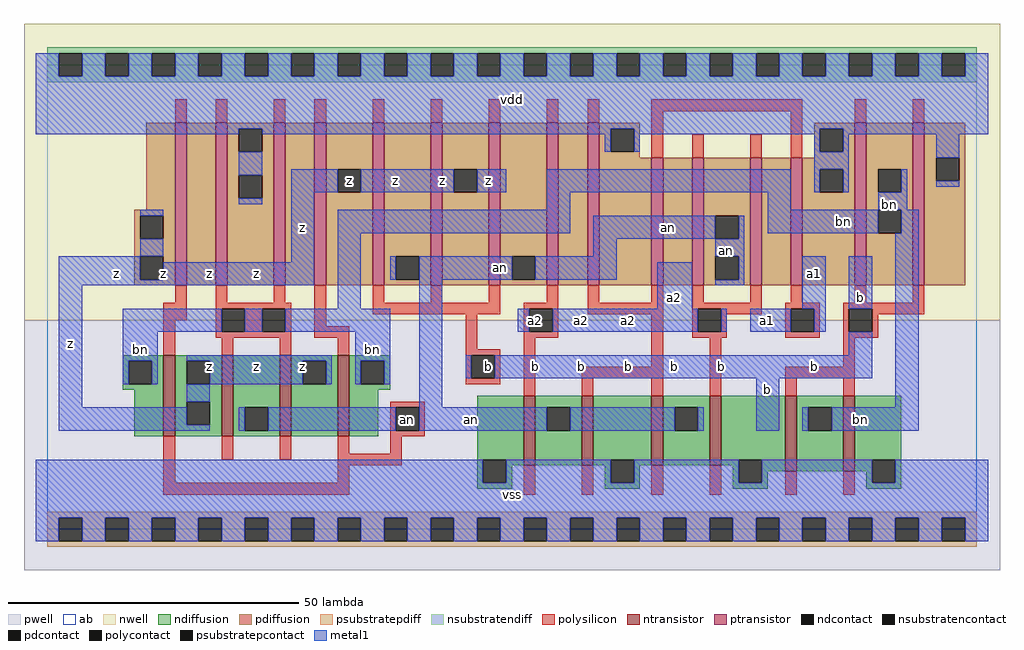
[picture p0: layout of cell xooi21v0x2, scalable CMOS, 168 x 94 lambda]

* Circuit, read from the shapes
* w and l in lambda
.subckt xooi21v0x2 a1 a2 an b bn vdd vss z
M1 z an bn vss nfet w=14 l=2 m=2
M2 an bn z vss nfet w=14 l=2 m=2
M3 an a2 vss vss nfet w=12 l=2 m=2
M4 vss a1 an vss nfet w=12 l=2 m=2
M5 bn b vss vss nfet w=13 l=2 m=2
M6 n1 an z vdd pfet w=28 l=2
M7 vdd bn n1 vdd pfet w=28 l=2
M8 n2 bn vdd vdd pfet w=28 l=2
M9 z an n2 vdd pfet w=28 l=2
M10 an b z vdd pfet w=28 l=2 m=3
M11 n3 a2 an vdd pfet w=28 l=2
M12 vdd a1 n3 vdd pfet w=28 l=2
M13 n4 a1 vdd vdd pfet w=22 l=2
M14 an a2 n4 vdd pfet w=22 l=2
M15 n5 a2 an vdd pfet w=22 l=2
M16 vdd a1 n5 vdd pfet w=22 l=2
M17 bn b vdd vdd pfet w=28 l=2 m=2
.ends

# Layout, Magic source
magic
tech scmos
<< ab >>
rect 0 0 160 80
<< pwell >>
rect -4 -7 164 36
<< nwell >>
rect -4 36 164 87
<< polysilicon >>
rect 22 70 24 74
rect 29 70 31 74
rect 39 70 41 74
rect 46 70 48 74
rect 56 70 58 74
rect 66 70 68 74
rect 76 70 78 74
rect 86 70 88 74
rect 93 70 95 74
rect 104 72 130 74
rect 104 64 106 72
rect 111 64 113 68
rect 121 64 123 68
rect 128 64 130 72
rect 139 70 141 74
rect 149 70 151 74
rect 22 39 24 42
rect 20 36 24 39
rect 29 39 31 42
rect 39 39 41 42
rect 29 38 42 39
rect 20 30 22 36
rect 29 34 30 38
rect 34 34 37 38
rect 41 34 42 38
rect 29 33 42 34
rect 46 35 48 42
rect 56 39 58 42
rect 66 39 68 42
rect 76 39 78 42
rect 86 39 88 42
rect 56 37 78 39
rect 82 38 88 39
rect 46 33 52 35
rect 30 30 32 33
rect 40 30 42 33
rect 50 30 52 33
rect 72 31 74 37
rect 82 34 83 38
rect 87 34 88 38
rect 93 39 95 42
rect 104 39 106 42
rect 93 37 106 39
rect 82 33 88 34
rect 72 30 78 31
rect 72 26 73 30
rect 77 26 78 30
rect 72 25 78 26
rect 82 23 84 33
rect 104 28 106 37
rect 111 39 113 42
rect 121 39 123 42
rect 128 39 130 42
rect 139 39 141 42
rect 149 39 151 42
rect 111 38 123 39
rect 111 34 112 38
rect 116 37 123 38
rect 127 38 133 39
rect 116 34 117 37
rect 111 33 117 34
rect 127 34 128 38
rect 132 34 133 38
rect 127 33 133 34
rect 137 38 151 39
rect 137 34 138 38
rect 142 37 151 38
rect 142 34 143 37
rect 137 33 143 34
rect 92 26 106 28
rect 92 23 94 26
rect 104 23 106 26
rect 114 23 116 33
rect 137 28 139 33
rect 127 26 139 28
rect 127 23 129 26
rect 137 23 139 26
rect 59 21 65 22
rect 59 17 60 21
rect 64 17 65 21
rect 59 16 65 17
rect 20 8 22 16
rect 30 12 32 16
rect 40 12 42 16
rect 50 13 52 16
rect 59 13 61 16
rect 50 11 61 13
rect 50 8 52 11
rect 20 6 52 8
rect 82 6 84 11
rect 92 6 94 11
rect 104 6 106 11
rect 114 6 116 11
rect 127 6 129 10
rect 137 6 139 10
<< ndiffusion >>
rect 13 29 20 30
rect 13 25 14 29
rect 18 25 20 29
rect 13 24 20 25
rect 15 16 20 24
rect 22 29 30 30
rect 22 25 24 29
rect 28 25 30 29
rect 22 22 30 25
rect 22 18 24 22
rect 28 18 30 22
rect 22 16 30 18
rect 32 21 40 30
rect 32 17 34 21
rect 38 17 40 21
rect 32 16 40 17
rect 42 29 50 30
rect 42 25 44 29
rect 48 25 50 29
rect 42 16 50 25
rect 52 29 59 30
rect 52 25 54 29
rect 58 25 59 29
rect 52 24 59 25
rect 52 16 57 24
rect 74 12 82 23
rect 74 8 75 12
rect 79 11 82 12
rect 84 21 92 23
rect 84 17 86 21
rect 90 17 92 21
rect 84 11 92 17
rect 94 12 104 23
rect 94 11 97 12
rect 79 8 80 11
rect 74 7 80 8
rect 96 8 97 11
rect 101 11 104 12
rect 106 21 114 23
rect 106 17 108 21
rect 112 17 114 21
rect 106 11 114 17
rect 116 12 127 23
rect 116 11 119 12
rect 101 8 102 11
rect 96 7 102 8
rect 118 8 119 11
rect 123 10 127 12
rect 129 21 137 23
rect 129 17 131 21
rect 135 17 137 21
rect 129 10 137 17
rect 139 12 147 23
rect 139 10 142 12
rect 123 8 124 10
rect 118 7 124 8
rect 141 8 142 10
rect 146 8 147 12
rect 141 7 147 8
<< pdiffusion >>
rect 17 55 22 70
rect 15 54 22 55
rect 15 50 16 54
rect 20 50 22 54
rect 15 47 22 50
rect 15 43 16 47
rect 20 43 22 47
rect 15 42 22 43
rect 24 42 29 70
rect 31 69 39 70
rect 31 65 33 69
rect 37 65 39 69
rect 31 61 39 65
rect 31 57 33 61
rect 37 57 39 61
rect 31 42 39 57
rect 41 42 46 70
rect 48 62 56 70
rect 48 58 50 62
rect 54 58 56 62
rect 48 42 56 58
rect 58 47 66 70
rect 58 43 60 47
rect 64 43 66 47
rect 58 42 66 43
rect 68 62 76 70
rect 68 58 70 62
rect 74 58 76 62
rect 68 42 76 58
rect 78 47 86 70
rect 78 43 80 47
rect 84 43 86 47
rect 78 42 86 43
rect 88 42 93 70
rect 95 69 102 70
rect 95 65 97 69
rect 101 65 102 69
rect 95 64 102 65
rect 132 69 139 70
rect 132 65 133 69
rect 137 65 139 69
rect 132 64 139 65
rect 95 42 104 64
rect 106 42 111 64
rect 113 54 121 64
rect 113 50 115 54
rect 119 50 121 54
rect 113 47 121 50
rect 113 43 115 47
rect 119 43 121 47
rect 113 42 121 43
rect 123 42 128 64
rect 130 62 139 64
rect 130 58 133 62
rect 137 58 139 62
rect 130 42 139 58
rect 141 62 149 70
rect 141 58 143 62
rect 147 58 149 62
rect 141 55 149 58
rect 141 51 143 55
rect 147 51 149 55
rect 141 42 149 51
rect 151 64 158 70
rect 151 60 153 64
rect 157 60 158 64
rect 151 42 158 60
<< metal1 >>
rect -2 78 2 82
rect 6 78 10 82
rect 14 78 18 82
rect 22 78 26 82
rect 30 78 34 82
rect 38 78 42 82
rect 46 78 50 82
rect 54 78 58 82
rect 62 78 66 82
rect 70 78 74 82
rect 78 78 82 82
rect 86 78 90 82
rect 94 78 98 82
rect 102 78 106 82
rect 110 78 114 82
rect 118 78 122 82
rect 126 78 130 82
rect 134 78 138 82
rect 142 78 146 82
rect 150 78 154 82
rect 158 78 162 82
rect -2 69 162 78
rect -2 68 33 69
rect 37 68 97 69
rect 96 65 97 68
rect 101 68 133 69
rect 101 65 102 68
rect 132 65 133 68
rect 137 68 162 69
rect 137 65 138 68
rect 33 61 37 65
rect 132 62 138 65
rect 153 64 157 68
rect 33 56 37 57
rect 42 58 50 62
rect 54 58 70 62
rect 74 58 79 62
rect 86 58 128 62
rect 132 58 133 62
rect 137 58 138 62
rect 147 58 148 62
rect 153 59 157 60
rect 16 54 20 55
rect 16 47 20 50
rect 2 43 16 47
rect 42 46 46 58
rect 86 55 90 58
rect 20 43 46 46
rect 2 42 46 43
rect 50 51 90 55
rect 124 55 128 58
rect 143 55 148 58
rect 2 21 6 42
rect 50 38 54 51
rect 94 50 115 54
rect 119 50 120 54
rect 124 51 143 55
rect 147 51 150 55
rect 94 47 98 50
rect 59 43 60 47
rect 64 43 80 47
rect 84 43 98 47
rect 115 47 120 50
rect 13 34 30 38
rect 34 34 37 38
rect 41 34 59 38
rect 13 29 19 34
rect 13 25 14 29
rect 18 25 19 29
rect 24 29 49 30
rect 28 25 44 29
rect 48 25 49 29
rect 53 29 59 34
rect 53 25 54 29
rect 58 25 59 29
rect 24 22 28 25
rect 2 18 24 21
rect 64 21 68 43
rect 105 38 111 46
rect 119 43 120 47
rect 115 42 120 43
rect 130 38 134 47
rect 81 34 83 38
rect 87 34 112 38
rect 116 34 117 38
rect 121 34 128 38
rect 132 34 134 38
rect 138 38 142 47
rect 138 30 142 34
rect 72 26 73 30
rect 77 26 142 30
rect 2 17 28 18
rect 33 17 34 21
rect 38 17 60 21
rect 64 17 86 21
rect 90 17 108 21
rect 112 17 113 21
rect 122 17 126 26
rect 146 21 150 51
rect 130 17 131 21
rect 135 17 150 21
rect -2 8 75 12
rect 79 8 97 12
rect 101 8 119 12
rect 123 8 142 12
rect 146 8 162 12
rect -2 2 162 8
rect -2 -2 2 2
rect 6 -2 10 2
rect 14 -2 18 2
rect 22 -2 26 2
rect 30 -2 34 2
rect 38 -2 42 2
rect 46 -2 50 2
rect 54 -2 58 2
rect 62 -2 66 2
rect 70 -2 74 2
rect 78 -2 82 2
rect 86 -2 90 2
rect 94 -2 98 2
rect 102 -2 106 2
rect 110 -2 114 2
rect 118 -2 122 2
rect 126 -2 130 2
rect 134 -2 138 2
rect 142 -2 146 2
rect 150 -2 154 2
rect 158 -2 162 2
<< ntransistor >>
rect 20 16 22 30
rect 30 16 32 30
rect 40 16 42 30
rect 50 16 52 30
rect 82 11 84 23
rect 92 11 94 23
rect 104 11 106 23
rect 114 11 116 23
rect 127 10 129 23
rect 137 10 139 23
<< ptransistor >>
rect 22 42 24 70
rect 29 42 31 70
rect 39 42 41 70
rect 46 42 48 70
rect 56 42 58 70
rect 66 42 68 70
rect 76 42 78 70
rect 86 42 88 70
rect 93 42 95 70
rect 104 42 106 64
rect 111 42 113 64
rect 121 42 123 64
rect 128 42 130 64
rect 139 42 141 70
rect 149 42 151 70
<< polycontact >>
rect 30 34 34 38
rect 37 34 41 38
rect 83 34 87 38
rect 73 26 77 30
rect 112 34 116 38
rect 128 34 132 38
rect 138 34 142 38
rect 60 17 64 21
<< ndcontact >>
rect 14 25 18 29
rect 24 25 28 29
rect 24 18 28 22
rect 34 17 38 21
rect 44 25 48 29
rect 54 25 58 29
rect 75 8 79 12
rect 86 17 90 21
rect 97 8 101 12
rect 108 17 112 21
rect 119 8 123 12
rect 131 17 135 21
rect 142 8 146 12
<< pdcontact >>
rect 16 50 20 54
rect 16 43 20 47
rect 33 65 37 69
rect 33 57 37 61
rect 50 58 54 62
rect 60 43 64 47
rect 70 58 74 62
rect 80 43 84 47
rect 97 65 101 69
rect 133 65 137 69
rect 115 50 119 54
rect 115 43 119 47
rect 133 58 137 62
rect 143 58 147 62
rect 143 51 147 55
rect 153 60 157 64
<< psubstratepcontact >>
rect 2 -2 6 2
rect 10 -2 14 2
rect 18 -2 22 2
rect 26 -2 30 2
rect 34 -2 38 2
rect 42 -2 46 2
rect 50 -2 54 2
rect 58 -2 62 2
rect 66 -2 70 2
rect 74 -2 78 2
rect 82 -2 86 2
rect 90 -2 94 2
rect 98 -2 102 2
rect 106 -2 110 2
rect 114 -2 118 2
rect 122 -2 126 2
rect 130 -2 134 2
rect 138 -2 142 2
rect 146 -2 150 2
rect 154 -2 158 2
<< nsubstratencontact >>
rect 2 78 6 82
rect 10 78 14 82
rect 18 78 22 82
rect 26 78 30 82
rect 34 78 38 82
rect 42 78 46 82
rect 50 78 54 82
rect 58 78 62 82
rect 66 78 70 82
rect 74 78 78 82
rect 82 78 86 82
rect 90 78 94 82
rect 98 78 102 82
rect 106 78 110 82
rect 114 78 118 82
rect 122 78 126 82
rect 130 78 134 82
rect 138 78 142 82
rect 146 78 150 82
rect 154 78 158 82
<< psubstratepdiff >>
rect 0 2 160 3
rect 0 -2 2 2
rect 6 -2 10 2
rect 14 -2 18 2
rect 22 -2 26 2
rect 30 -2 34 2
rect 38 -2 42 2
rect 46 -2 50 2
rect 54 -2 58 2
rect 62 -2 66 2
rect 70 -2 74 2
rect 78 -2 82 2
rect 86 -2 90 2
rect 94 -2 98 2
rect 102 -2 106 2
rect 110 -2 114 2
rect 118 -2 122 2
rect 126 -2 130 2
rect 134 -2 138 2
rect 142 -2 146 2
rect 150 -2 154 2
rect 158 -2 160 2
rect 0 -3 160 -2
<< nsubstratendiff >>
rect 0 82 160 83
rect 0 78 2 82
rect 6 78 10 82
rect 14 78 18 82
rect 22 78 26 82
rect 30 78 34 82
rect 38 78 42 82
rect 46 78 50 82
rect 54 78 58 82
rect 62 78 66 82
rect 70 78 74 82
rect 78 78 82 82
rect 86 78 90 82
rect 94 78 98 82
rect 102 78 106 82
rect 110 78 114 82
rect 118 78 122 82
rect 126 78 130 82
rect 134 78 138 82
rect 142 78 146 82
rect 150 78 154 82
rect 158 78 160 82
rect 0 77 160 78
<< labels >>
rlabel polycontact 62 19 62 19 6 an
rlabel metal1 4 32 4 32 6 z
rlabel metal1 16 31 16 31 6 bn
rlabel metal1 12 44 12 44 6 z
rlabel metal1 20 44 20 44 6 z
rlabel metal1 28 28 28 28 6 z
rlabel metal1 36 28 36 28 6 z
rlabel metal1 44 28 44 28 6 z
rlabel metal1 56 31 56 31 6 bn
rlabel metal1 28 44 28 44 6 z
rlabel metal1 36 44 36 44 6 z
rlabel metal1 44 52 44 52 6 z
rlabel pdcontact 52 60 52 60 6 z
rlabel metal1 60 60 60 60 6 z
rlabel metal1 80 6 80 6 6 vss
rlabel polycontact 76 28 76 28 6 b
rlabel metal1 84 28 84 28 6 b
rlabel metal1 92 28 92 28 6 b
rlabel polycontact 84 36 84 36 6 a2
rlabel metal1 92 36 92 36 6 a2
rlabel metal1 68 60 68 60 6 z
rlabel metal1 76 60 76 60 6 z
rlabel metal1 80 74 80 74 6 vdd
rlabel metal1 100 28 100 28 6 b
rlabel metal1 73 19 73 19 6 an
rlabel metal1 108 28 108 28 6 b
rlabel metal1 116 28 116 28 6 b
rlabel metal1 124 24 124 24 6 b
rlabel metal1 100 36 100 36 6 a2
rlabel metal1 78 45 78 45 6 an
rlabel metal1 108 40 108 40 6 a2
rlabel metal1 124 36 124 36 6 a1
rlabel metal1 117 48 117 48 6 an
rlabel metal1 107 52 107 52 6 an
rlabel metal1 132 28 132 28 6 b
rlabel metal1 140 19 140 19 6 bn
rlabel metal1 132 44 132 44 6 a1
rlabel metal1 140 40 140 40 6 b
rlabel metal1 137 53 137 53 6 bn
rlabel metal1 145 56 145 56 6 bn
<< end >>
